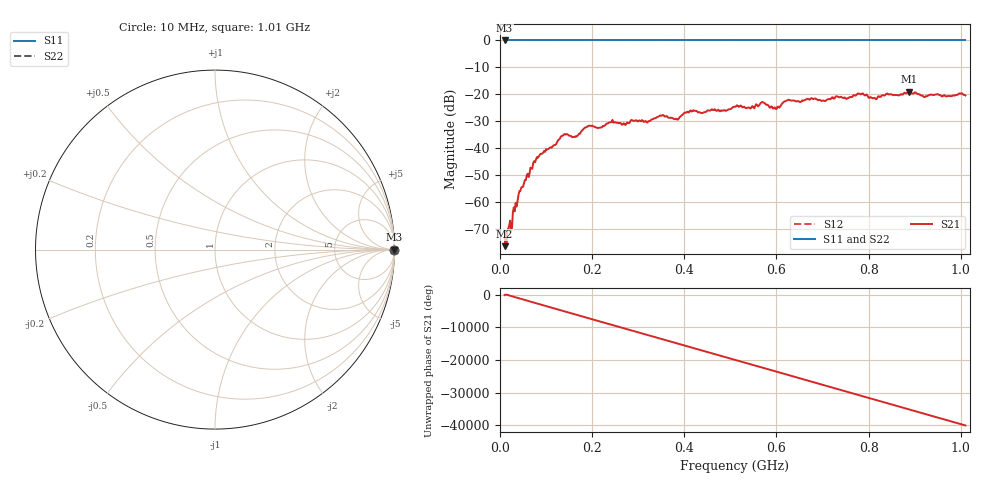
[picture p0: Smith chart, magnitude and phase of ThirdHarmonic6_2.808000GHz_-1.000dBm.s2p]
! 8/17/2025 7:21:36 AM
! C:\ANRITSUVNA\TEMP\TEMP.S2P
! CHANNEL.1
! TR.MEASUREMENT
! RAW.DATA
! RF.CORRECTION.OFF
! AVERAGING.OFF
! IF.BANDWIDTH: 5KHZ
! SWEEPTYPE:  FREQ.SWEEP(Linear)
! Reference Plane Port Info
! PORT:  PORT1  PORT2
! DISTANCE:  0  m  0  m
! TIME:  0  s  0  s
! PHASE.OFFSET:  0  deg.  0  deg.
! LOSS:  0  dB  0  dB
! REF.LOSS:  0  dB  0  dB
! REF.FREQ:  0  Hz  0  Hz
! Power Info
! POWER:  -20  dBm  -20  dBm
! EFF.POWER:  -20  dBm  -20  dBm
! SOURCE.ATTEN:  0  dB  0  dB
! TEST.ATTEN:  0  dB  0  dB
# GHZ S RI R 50.0
! FREQ.GHZ  S11RE  S11IM  S21RE  S21IM  S12RE  S12IM  S22RE  S22IM
!; PortSelection: Port_12
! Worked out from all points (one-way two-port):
!   501 points, 10 MHz to 1.01 GHz, reference 50 ohm
!   highest |S21| = -19.04 dB at 888 MHz (marker M1); lowest = -76.3 dB at 10 MHz (marker M2)
!   lowest |S11| = 0.0 dB at 10 MHz (marker M3)
!   |S11| at or under -10 dB: nowhere
!   |S22| runs from 0.0 to 0.0 dB; largest |S21 - S12| = 1.1
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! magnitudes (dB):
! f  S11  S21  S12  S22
! 10 MHz  0.0  -76.3  0.0  0.0
! 44 MHz  0.0  -55.9  0.0  0.0
! 76 MHz  0.0  -45.2  0.0  0.0
! 136 MHz  0.0  -35.3  0.0  0.0
! 162 MHz  0.0  -35.9  0.0  0.0
! 178 MHz  0.0  -33.4  0.0  0.0
! 240 MHz  0.0  -30.4  0.0  0.0
! 322 MHz  0.0  -30.0  0.0  0.0
! 344 MHz  0.0  -28.3  0.0  0.0
! 382 MHz  0.0  -29.0  0.0  0.0
! 416 MHz  0.0  -26.4  0.0  0.0
! 510 MHz  0.0  -24.6  0.0  0.0
! 548 MHz  0.0  -24.3  0.0  0.0
! 570 MHz  0.0  -22.9  0.0  0.0
! 596 MHz  0.0  -24.8  0.0  0.0
! 624 MHz  0.0  -22.1  0.0  0.0
! 678 MHz  0.0  -21.6  0.0  0.0
! 784 MHz  0.0  -19.9  0.0  0.0
! 814 MHz  0.0  -21.4  0.0  0.0
! 844 MHz  0.0  -20.1  0.0  0.0
! 888 MHz  0.0  -19.0  0.0  0.0
! 1.01 GHz  0.0  -20.4  0.0  0.0
